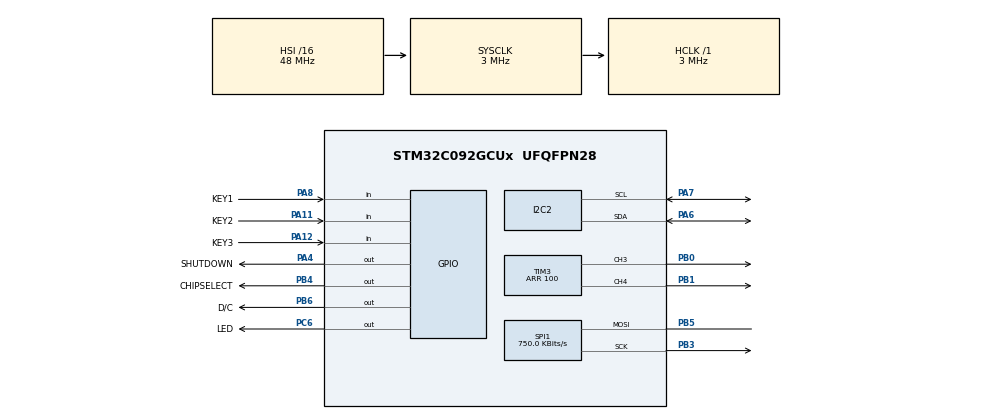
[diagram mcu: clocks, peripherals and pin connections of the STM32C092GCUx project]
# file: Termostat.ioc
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I2C2.Timing=0x00100B0C
Mcu.Family=STM32C0
Mcu.Name=STM32C092GCUx
Mcu.Package=UFQFPN28
NVIC.TIM17_IRQn=true\:3\:0\:false\:false\:true\:false\:true\:true
NVIC.TimeBase=TIM17_IRQn
NVIC.TimeBaseIP=TIM17
PA0.Signal=USART1_TX
PA1.Signal=USART1_RX
PA11\ [PA9].GPIO_Label=KEY2
PA11\ [PA9].Signal=GPIO_Input
PA12\ [PA10].GPIO_Label=KEY3
PA12\ [PA10].Signal=GPIO_Input
PA2.Signal=USART2_TX
PA3.Signal=USART2_RX
PA4.GPIO_Label=SHUTDOWN
PA4.Signal=GPIO_Output
PA6.Mode=I2C
PA6.Signal=I2C2_SDA
PA7.Mode=I2C
PA7.Signal=I2C2_SCL
PA8.GPIO_Label=KEY1
PA8.Signal=GPIO_Input
PB0.Signal=S_TIM3_CH3
PB1.Signal=S_TIM3_CH4
PB3.Mode=Simplex_Bidirectional_Master
PB3.Signal=SPI1_SCK
PB4.GPIO_Label=CHIPSELECT
PB4.Signal=GPIO_Output
PB5.Mode=Simplex_Bidirectional_Master
PB5.Signal=SPI1_MOSI
PB6.GPIO_Label=D/C
PB6.Signal=GPIO_Output
PC6.GPIO_Label=LED
PC6.Signal=GPIO_Output
ProjectManager.HeapSize=0x200
ProjectManager.StackSize=0x400
ProjectManager.TargetToolchain=STM32CubeIDE
RCC.ADCFreq_Value=3000000
RCC.AHBFreq_Value=3000000
RCC.CortexFreq_Value=3000000
RCC.EXTERNAL_CLOCK_VALUE=12288000
RCC.HCLKFreq_Value=3000000
RCC.HSE_VALUE=8000000
RCC.HSISYSCLKDivider=RCC_HSI_DIV16
RCC.HSI_VALUE=48000000
RCC.LSE_VALUE=32768
RCC.SYSCLKFreq_VALUE=3000000
SH.S_TIM3_CH3.0=TIM3_CH3,PWM Generation3 CH3
SH.S_TIM3_CH4.0=TIM3_CH4,PWM Generation4 CH4
SPI1.BaudRatePrescaler=SPI_BAUDRATEPRESCALER_4
SPI1.CalculateBaudRate=750.0 KBits/s
SPI1.DataSize=SPI_DATASIZE_8BIT
SPI1.Direction=SPI_DIRECTION_1LINE
SPI1.FirstBit=SPI_FIRSTBIT_MSB
SPI1.Mode=SPI_MODE_MASTER
SPI1.VirtualType=VM_MASTER
TIM3.AutoReloadPreload=TIM_AUTORELOAD_PRELOAD_ENABLE
TIM3.Channel-PWM\ Generation3\ CH3=TIM_CHANNEL_3
TIM3.Channel-PWM\ Generation4\ CH4=TIM_CHANNEL_4
TIM3.Period=100
VP_SYS_VS_tim17.Mode=TIM17
VP_TIM3_VS_ClockSourceINT.Mode=Internal
board=custom

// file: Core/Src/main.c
/* USER CODE BEGIN Header */
/**
  ******************************************************************************
  * @file           : main.c
  * @brief          : Main program body
  ******************************************************************************
  * @attention
  *
  * Copyright (c) 2026 STMicroelectronics.
  * All rights reserved.
  *
  * This software is licensed under terms that can be found in the LICENSE file
  * in the root directory of this software component.
  * If no LICENSE file comes with this software, it is provided AS-IS.
  *
  ******************************************************************************
  */
/* USER CODE END Header */
#include "main.h"

/* USER CODE BEGIN Includes */
#include "LM75.h"
#include "Regulator.h"
#include "OLED.h"
#include "stdio.h"

/* USER CODE END Includes */

I2C_HandleTypeDef hi2c2;

SPI_HandleTypeDef hspi1;

TIM_HandleTypeDef htim3;

/* USER CODE BEGIN PV */
float fTemp, fTempG, fTempD;	//temperatury
uint8_t cWartoscPWM;
extern FontDef Font_6x8;
extern FontDef Font_7x10;
extern FontDef Font_11x18;
extern FontDef Font_16x26;
extern const uint8_t logo_ITWL[];
extern const int logo_ITWL_width;
extern const int logo_ITWL_height;
char cBufor[20];		//zasobnik na napisy
float fWartZadana[2] = {25.0f, 25.0f};	//wartosci zadane obu regulatorów
float fWmocnienie[2] = {10.0f, 10.0f};	//wzmocnienie kp obu regulatorów
uint8_t cWyjscie;
/* USER CODE END PV */

void SystemClock_Config(void);
static void MX_GPIO_Init(void);
static void MX_I2C2_Init(void);
static void MX_TIM3_Init(void);
static void MX_SPI1_Init(void);

int main(void)
{

  /* USER CODE BEGIN 1 */
	cWartoscPWM = 0;

  /* USER CODE END 1 */

  /* MCU Configuration--------------------------------------------------------*/

  /* Reset of all peripherals, Initializes the Flash interface and the Systick. */
  HAL_Init();

  /* Configure the system clock */
  SystemClock_Config();

  /* Initialize all configured peripherals */
  MX_GPIO_Init();
  MX_I2C2_Init();
  MX_TIM3_Init();
  MX_SPI1_Init();
  /* USER CODE BEGIN 2 */
  WlaczPWM(TIM_CHANNEL_3);
  WlaczPWM(TIM_CHANNEL_4);
  OLED_Init();

  /* USER CODE END 2 */

  /* Infinite loop */
  /* USER CODE BEGIN WHILE */

  //Podczas uruchomienia wyświetl logo przez sekudę
  RysujBitmape((OLED_SZEROKOSC - logo_ITWL_width)/2, 0, logo_ITWL_width, logo_ITWL_height, (uint8_t*)logo_ITWL);
  OLED_OdswiezEkran();
  HAL_Delay(1000);
  OLED_CzyśćBuforEkranu();
  OLED_RysujNapis("Tmierz  Tzad  Wyj", 0, 8, &Font_7x10);	//nagłówek
  CzytajTemperturęCzujnika(LM75ADRESS_GORNY, &fTempG);	//inicjuj filtry IIR temperatury wartościami poczatkowymi
  CzytajTemperturęCzujnika(LM75ADRESS_DOLNY, &fTempD);
  while (1)
  {
	  //regulator P1
	  CzytajTemperturęCzujnika(LM75ADRESS_GORNY, &fTemp);
	  fTempG = (31 * fTempG + fTemp) / 32;		//filtr IIR temperatury
	  cWyjscie = CzlonP(fTempG, fWartZadana[0], fWmocnienie[0]);
	  UstawPWM(cWyjscie, TIM_CHANNEL_3);		//regulator produkuje wynik w zakresie 0..99, kanał timera ma okres 100, więc pasują do siebie bez potrzeby przelicznia
	  sprintf(cBufor, "%.1f %.0f %2d%% ", fTempG, fWartZadana[0], cWyjscie);
	  OLED_RysujNapis(cBufor, 0, 20, &Font_11x18);

	  //regulator P2
	  CzytajTemperturęCzujnika(LM75ADRESS_DOLNY, &fTemp);
	  fTempD = (31 * fTempD + fTemp) / 32;
	  cWyjscie = CzlonP(fTempD, fWartZadana[1], fWmocnienie[1]);
	  UstawPWM(cWyjscie, TIM_CHANNEL_4);
	  sprintf(cBufor, "%.1f %.0f %2d%% ", fTempD, fWartZadana[1], cWyjscie);
	  OLED_RysujNapis(cBufor, 0, 42, &Font_11x18);

	  //OLED_RysujNapis("Test  7x10", 0,  8, &Font_7x10);
	  //OLED_RysujNapis("Test 11x18", 0, 20, &Font_11x18);
	  //OLED_RysujNapis("T 16x26", 0, 38, &Font_16x26);
	  OLED_OdswiezEkran();
	  HAL_Delay(49);
	  HAL_GPIO_WritePin(LED_GPIO_Port, LED_Pin, GPIO_PIN_RESET);	//włącz LED na krótką chwile aby minimalizować zużycie energii i grzanie się płytki
	  HAL_Delay(1);
	  HAL_GPIO_WritePin(LED_GPIO_Port, LED_Pin, GPIO_PIN_SET);		//wyłącz LED
	  __WFI();   //Uśpij MCU następnie: Wait For Interrupt
    /* USER CODE END WHILE */

  }
}

void SystemClock_Config(void)
{
  RCC_OscInitTypeDef RCC_OscInitStruct = {0};
  RCC_ClkInitTypeDef RCC_ClkInitStruct = {0};

  __HAL_FLASH_SET_LATENCY(FLASH_LATENCY_0);

  /** Initializes the RCC Oscillators according to the specified parameters
  * in the RCC_OscInitTypeDef structure.
  */
  RCC_OscInitStruct.OscillatorType = RCC_OSCILLATORTYPE_HSI;
  RCC_OscInitStruct.HSIState = RCC_HSI_ON;
  RCC_OscInitStruct.HSIDiv = RCC_HSI_DIV16;
  RCC_OscInitStruct.HSICalibrationValue = RCC_HSICALIBRATION_DEFAULT;
  if (HAL_RCC_OscConfig(&RCC_OscInitStruct) != HAL_OK)
  {
    Error_Handler();
  }

  /** Initializes the CPU, AHB and APB buses clocks
  */
  RCC_ClkInitStruct.ClockType = RCC_CLOCKTYPE_HCLK|RCC_CLOCKTYPE_SYSCLK
                              |RCC_CLOCKTYPE_PCLK1;
  RCC_ClkInitStruct.SYSCLKSource = RCC_SYSCLKSOURCE_HSI;
  RCC_ClkInitStruct.SYSCLKDivider = RCC_SYSCLK_DIV1;
  RCC_ClkInitStruct.AHBCLKDivider = RCC_HCLK_DIV1;
  RCC_ClkInitStruct.APB1CLKDivider = RCC_APB1_DIV1;

  if (HAL_RCC_ClockConfig(&RCC_ClkInitStruct, FLASH_LATENCY_0) != HAL_OK)
  {
    Error_Handler();
  }
}

static void MX_I2C2_Init(void)
{

  hi2c2.Instance = I2C2;
  hi2c2.Init.Timing = 0x00100B0C;
  hi2c2.Init.OwnAddress1 = 0;
  hi2c2.Init.AddressingMode = I2C_ADDRESSINGMODE_7BIT;
  hi2c2.Init.DualAddressMode = I2C_DUALADDRESS_DISABLE;
  hi2c2.Init.OwnAddress2 = 0;
  hi2c2.Init.OwnAddress2Masks = I2C_OA2_NOMASK;
  hi2c2.Init.GeneralCallMode = I2C_GENERALCALL_DISABLE;
  hi2c2.Init.NoStretchMode = I2C_NOSTRETCH_DISABLE;
  if (HAL_I2C_Init(&hi2c2) != HAL_OK)
  {
    Error_Handler();
  }

  /** Configure Analogue filter
  */
  if (HAL_I2CEx_ConfigAnalogFilter(&hi2c2, I2C_ANALOGFILTER_ENABLE) != HAL_OK)
  {
    Error_Handler();
  }

  /** Configure Digital filter
  */
  if (HAL_I2CEx_ConfigDigitalFilter(&hi2c2, 0) != HAL_OK)
  {
    Error_Handler();
  }

}

static void MX_SPI1_Init(void)
{

  /* SPI1 parameter configuration*/
  hspi1.Instance = SPI1;
  hspi1.Init.Mode = SPI_MODE_MASTER;
  hspi1.Init.Direction = SPI_DIRECTION_1LINE;
  hspi1.Init.DataSize = SPI_DATASIZE_8BIT;
  hspi1.Init.CLKPolarity = SPI_POLARITY_LOW;
  hspi1.Init.CLKPhase = SPI_PHASE_1EDGE;
  hspi1.Init.NSS = SPI_NSS_SOFT;
  hspi1.Init.BaudRatePrescaler = SPI_BAUDRATEPRESCALER_4;
  hspi1.Init.FirstBit = SPI_FIRSTBIT_MSB;
  hspi1.Init.TIMode = SPI_TIMODE_DISABLE;
  hspi1.Init.CRCCalculation = SPI_CRCCALCULATION_DISABLE;
  hspi1.Init.CRCPolynomial = 7;
  hspi1.Init.CRCLength = SPI_CRC_LENGTH_DATASIZE;
  hspi1.Init.NSSPMode = SPI_NSS_PULSE_ENABLE;
  if (HAL_SPI_Init(&hspi1) != HAL_OK)
  {
    Error_Handler();
  }

}

static void MX_TIM3_Init(void)
{

  TIM_ClockConfigTypeDef sClockSourceConfig = {0};
  TIM_MasterConfigTypeDef sMasterConfig = {0};
  TIM_OC_InitTypeDef sConfigOC = {0};

  htim3.Instance = TIM3;
  htim3.Init.Prescaler = 0;
  htim3.Init.CounterMode = TIM_COUNTERMODE_UP;
  htim3.Init.Period = 100;
  htim3.Init.ClockDivision = TIM_CLOCKDIVISION_DIV1;
  htim3.Init.AutoReloadPreload = TIM_AUTORELOAD_PRELOAD_ENABLE;
  if (HAL_TIM_Base_Init(&htim3) != HAL_OK)
  {
    Error_Handler();
  }
  sClockSourceConfig.ClockSource = TIM_CLOCKSOURCE_INTERNAL;
  if (HAL_TIM_ConfigClockSource(&htim3, &sClockSourceConfig) != HAL_OK)
  {
    Error_Handler();
  }
  if (HAL_TIM_PWM_Init(&htim3) != HAL_OK)
  {
    Error_Handler();
  }
  sMasterConfig.MasterOutputTrigger = TIM_TRGO_RESET;
  sMasterConfig.MasterSlaveMode = TIM_MASTERSLAVEMODE_DISABLE;
  if (HAL_TIMEx_MasterConfigSynchronization(&htim3, &sMasterConfig) != HAL_OK)
  {
    Error_Handler();
  }
  sConfigOC.OCMode = TIM_OCMODE_PWM1;
  sConfigOC.Pulse = 0;
  sConfigOC.OCPolarity = TIM_OCPOLARITY_HIGH;
  sConfigOC.OCFastMode = TIM_OCFAST_DISABLE;
  if (HAL_TIM_PWM_ConfigChannel(&htim3, &sConfigOC, TIM_CHANNEL_3) != HAL_OK)
  {
    Error_Handler();
  }
  if (HAL_TIM_PWM_ConfigChannel(&htim3, &sConfigOC, TIM_CHANNEL_4) != HAL_OK)
  {
    Error_Handler();
  }
  HAL_TIM_MspPostInit(&htim3);

}

static void MX_GPIO_Init(void)
{
  GPIO_InitTypeDef GPIO_InitStruct = {0};

  /* GPIO Ports Clock Enable */
  __HAL_RCC_GPIOA_CLK_ENABLE();
  __HAL_RCC_GPIOB_CLK_ENABLE();
  __HAL_RCC_GPIOC_CLK_ENABLE();

  /*Configure GPIO pin Output Level */
  HAL_GPIO_WritePin(SHUTDOWN_GPIO_Port, SHUTDOWN_Pin, GPIO_PIN_RESET);

  /*Configure GPIO pin Output Level */
  HAL_GPIO_WritePin(LED_GPIO_Port, LED_Pin, GPIO_PIN_RESET);

  /*Configure GPIO pin Output Level */
  HAL_GPIO_WritePin(GPIOB, CHIPSELECT_Pin|D_C_Pin, GPIO_PIN_RESET);

  /*Configure GPIO pins : PA0 PA1 */
  GPIO_InitStruct.Pin = GPIO_PIN_0|GPIO_PIN_1;
  GPIO_InitStruct.Mode = GPIO_MODE_AF_PP;
  GPIO_InitStruct.Pull = GPIO_NOPULL;
  GPIO_InitStruct.Speed = GPIO_SPEED_FREQ_LOW;
  GPIO_InitStruct.Alternate = GPIO_AF4_USART1;
  HAL_GPIO_Init(GPIOA, &GPIO_InitStruct);

  /*Configure GPIO pins : PA2 PA3 */
  GPIO_InitStruct.Pin = GPIO_PIN_2|GPIO_PIN_3;
  GPIO_InitStruct.Mode = GPIO_MODE_AF_PP;
  GPIO_InitStruct.Pull = GPIO_NOPULL;
  GPIO_InitStruct.Speed = GPIO_SPEED_FREQ_LOW;
  GPIO_InitStruct.Alternate = GPIO_AF1_USART2;
  HAL_GPIO_Init(GPIOA, &GPIO_InitStruct);

  /*Configure GPIO pin : SHUTDOWN_Pin */
  GPIO_InitStruct.Pin = SHUTDOWN_Pin;
  GPIO_InitStruct.Mode = GPIO_MODE_OUTPUT_PP;
  GPIO_InitStruct.Pull = GPIO_NOPULL;
  GPIO_InitStruct.Speed = GPIO_SPEED_FREQ_LOW;
  HAL_GPIO_Init(SHUTDOWN_GPIO_Port, &GPIO_InitStruct);

  /*Configure GPIO pins : KEY1_Pin KEY2_Pin KEY3_Pin */
  GPIO_InitStruct.Pin = KEY1_Pin|KEY2_Pin|KEY3_Pin;
  GPIO_InitStruct.Mode = GPIO_MODE_INPUT;
  GPIO_InitStruct.Pull = GPIO_NOPULL;
  HAL_GPIO_Init(GPIOA, &GPIO_InitStruct);

  /*Configure GPIO pin : LED_Pin */
  GPIO_InitStruct.Pin = LED_Pin;
  GPIO_InitStruct.Mode = GPIO_MODE_OUTPUT_PP;
  GPIO_InitStruct.Pull = GPIO_NOPULL;
  GPIO_InitStruct.Speed = GPIO_SPEED_FREQ_LOW;
  HAL_GPIO_Init(LED_GPIO_Port, &GPIO_InitStruct);

  /*Configure GPIO pins : CHIPSELECT_Pin D_C_Pin */
  GPIO_InitStruct.Pin = CHIPSELECT_Pin|D_C_Pin;
  GPIO_InitStruct.Mode = GPIO_MODE_OUTPUT_PP;
  GPIO_InitStruct.Pull = GPIO_NOPULL;
  GPIO_InitStruct.Speed = GPIO_SPEED_FREQ_LOW;
  HAL_GPIO_Init(GPIOB, &GPIO_InitStruct);

}

void HAL_TIM_PeriodElapsedCallback(TIM_HandleTypeDef *htim)
{
  if (htim->Instance == TIM17)
  {
    HAL_IncTick();
  }
}

void Error_Handler(void)
{
  __disable_irq();
  while (1)
  {
  }
}
